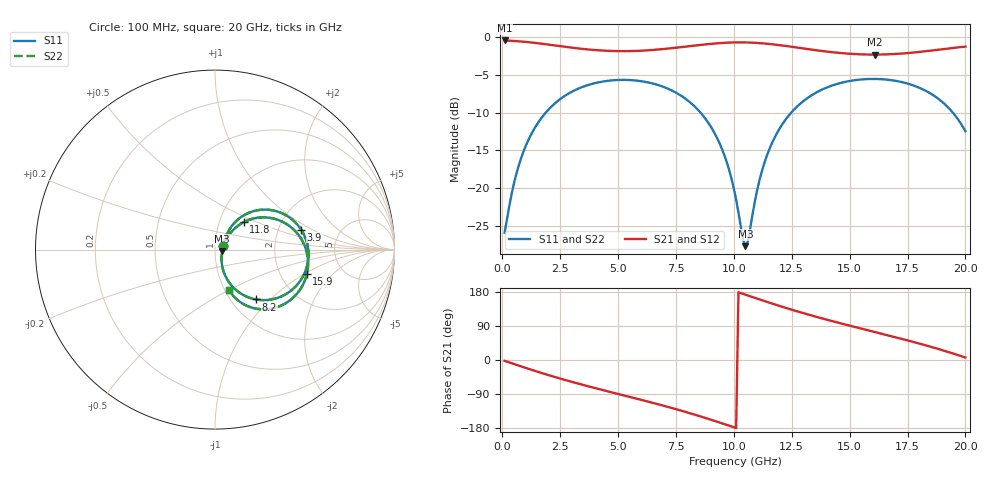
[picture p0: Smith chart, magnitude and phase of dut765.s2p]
! Touchstone file exported from HFSS 2026.1.0
!  File:  C:/ffzhzh/LocalFiles/Ansys_Project_Files/temp_train_TSV_RDL_765_1783208250_22436.aedt
!  Generated:  08:04:49 AM Jul  5, 2026
!  Design:  TSV_RDL
!  Project:  temp_train_TSV_RDL_765_1783208250_22436
! Variables:
!  h_bsmrdl = 3.42um
!  h_ox = 20um
!  h_rdl = 5um
!  h_sub = 97.12um
!  h_tmrdl = 5.02um
!  h_tsv = 97.12um
!  h_via = 3um
!  l_bsmrdl = 935.09um
!  l_sub = 5861.18um
!  l_tmrdl = 637.63um
!  m_sub = 200um
!  pitch = 35.05um
!  r_tsv = 2.05um
!  s_tmrdl = 10um
!  w_bsmrdl = 12.38um
!  w_sub = 500um
!  w_tmrdl = 22.75um
!  x_tsv_center1 = 649.005um
!  x_tsv_center2 = 1596.475um
!  x_tsv_center3 = 2256.855um
!  x_tsv_center4 = 3204.325um
!  x_tsv_center5 = 3864.705um
!  x_tsv_center6 = 4812.175um
# GHz S MA R 50.000000
! Terminal data exported
! Port[1] = TM_RDL1_1_T1
! Port[2] = TM_RDL5_1_T1
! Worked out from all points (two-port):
!   200 points, 100 MHz to 20 GHz, reference 50 ohm
!   highest |S21| = -0.41 dB at 100 MHz (marker M1); lowest = -2.3 dB at 16.1 GHz (marker M2)
!   |S21| within 3 dB of the highest: start of sweep to end of sweep
!   lowest |S11| = -27.7 dB at 10.5 GHz (marker M3), VSWR 1.09, Z = 54.2 - j1.02 ohm
!   |S11| at or under -10 dB: start of sweep to 1.872 GHz; 8.565 GHz to 12.47 GHz (3.909 GHz wide, 37.2 % of centre); 19.46 GHz to end of sweep
!   |S22| runs from -27.7 to -5.5 dB; largest |S21 - S12| = 5.8e-14
!   S11 on the Smith chart (normalised r, x): 100 MHz: 1.10, +0.04; 3.9 GHz: 2.67, +0.79; 8.2 GHz: 1.30, -0.83; 11.8 GHz: 1.31, +0.42; 15.9 GHz: 2.80, -1.07; 20 GHz: 1.05, -0.50
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0.1  0.05063 21.5  0.9534 -2.2  0.9534 -2.2  0.05063 21.5
! Gamma 0 0 0 0
! Port Impedance 50 0 50 0
0.6  0.1233 53.6  0.9438 -12.6  0.9438 -12.6  0.1233 53.6
1.3  0.2354 51.1  0.9227 -26.6  0.9227 -26.6  0.2354 51.1
2.2  0.3567 38.7  0.8862 -43.6  0.8862 -43.6  0.3567 38.7
3.5  0.4711 19.0  0.8369 -66.0  0.8369 -66.0  0.4711 19.0
3.9  0.4925 13.1  0.8259 -72.4  0.8259 -72.4  0.4925 13.1
5.3  0.5222 -7.1  0.8099 -94.2  0.8099 -94.2  0.5222 -7.1
6.8  0.4789 -29.0  0.832 -117.9  0.832 -117.9  0.4789 -29.0
8.2  0.3606 -50.4  0.8783 -142.2  0.8783 -142.2  0.3606 -50.4
9.4  0.1958 -66.9  0.9157 -165.2  0.9157 -165.2  0.1958 -66.9
10.1  0.08367 -63.2  0.9254 -179.5  0.9254 -179.5  0.08361 -63.3
10.5  0.04126 -13.1  0.925 172.3  0.925 172.3  0.04112 -13.1
10.6  0.04421 8.6  0.9242 170.2  0.9242 170.2  0.04408 8.7
11.2  0.1278 46.9  0.9134 158.0  0.9134 158.0  0.1277 47.0
11.8  0.2223 43.6  0.8943 146.0  0.8943 146.0  0.2222 43.6
13.4  0.4169 20.7  0.8273 116.7  0.8273 116.7  0.4168 20.8
14.7  0.5022 1.8  0.7847 95.4  0.7847 95.4  0.5022 1.8
15.9  0.5296 -15.0  0.7687 76.8  0.7687 76.8  0.5296 -15.0
16.1  0.5297 -17.8  0.7685 73.8  0.7685 73.8  0.5297 -17.7
16.7  0.5223 -26.1  0.772 64.5  0.772 64.5  0.5223 -26.1
18.5  0.4239 -51.7  0.816 35.0  0.816 35.0  0.4239 -51.7
20  0.2386 -70.9  0.8676 6.6  0.8676 6.6  0.2385 -70.9
